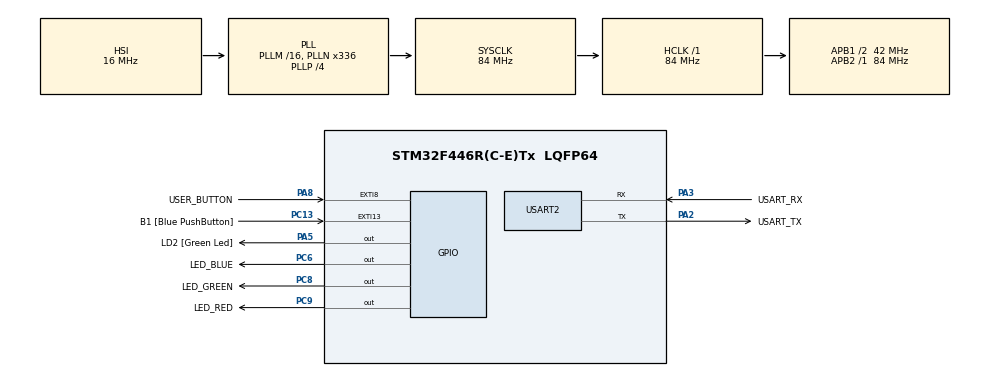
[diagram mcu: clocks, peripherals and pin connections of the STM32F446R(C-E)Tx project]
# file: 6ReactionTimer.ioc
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Mcu.Family=STM32F4
Mcu.Name=STM32F446R(C-E)Tx
Mcu.Package=LQFP64
NVIC.EXTI15_10_IRQn=true\:0\:0\:false\:false\:true\:true\:true\:true
NVIC.EXTI9_5_IRQn=true\:0\:0\:false\:false\:true\:true\:true\:true
NVIC.PriorityGroup=NVIC_PRIORITYGROUP_0
PA13.GPIO_Label=TMS
PA13.Mode=Serial_Wire
PA13.Signal=SYS_JTMS-SWDIO
PA14.GPIO_Label=TCK
PA14.Mode=Serial_Wire
PA14.Signal=SYS_JTCK-SWCLK
PA2.GPIO_Label=USART_TX
PA2.Mode=Asynchronous
PA2.Signal=USART2_TX
PA3.GPIO_Label=USART_RX
PA3.Mode=Asynchronous
PA3.Signal=USART2_RX
PA5.GPIO_Label=LD2 [Green Led]
PA5.Signal=GPIO_Output
PA8.GPIO_Label=USER_BUTTON
PA8.Signal=GPXTI8
PB3.GPIO_Label=SWO
PB3.Signal=SYS_JTDO-SWO
PC13.GPIO_Label=B1 [Blue PushButton]
PC13.GPIO_ModeDefaultEXTI=GPIO_MODE_IT_FALLING
PC13.Signal=GPXTI13
PC14-OSC32_IN.Mode=LSE-External-Oscillator
PC14-OSC32_IN.Signal=RCC_OSC32_IN
PC15-OSC32_OUT.Mode=LSE-External-Oscillator
PC15-OSC32_OUT.Signal=RCC_OSC32_OUT
PC6.GPIO_Label=LED_BLUE
PC6.Signal=GPIO_Output
PC8.GPIO_Label=LED_GREEN
PC8.Signal=GPIO_Output
PC9.GPIO_Label=LED_RED
PC9.Signal=GPIO_Output
PH0-OSC_IN.Mode=HSE-External-Oscillator
PH0-OSC_IN.Signal=RCC_OSC_IN
PH1-OSC_OUT.Mode=HSE-External-Oscillator
PH1-OSC_OUT.Signal=RCC_OSC_OUT
ProjectManager.HeapSize=0x200
ProjectManager.StackSize=0x400
ProjectManager.TargetToolchain=STM32CubeIDE
RCC.48MHZClocksFreq_Value=84000000
RCC.AHBFreq_Value=84000000
RCC.APB1CLKDivider=RCC_HCLK_DIV2
RCC.APB1Freq_Value=42000000
RCC.APB1TimFreq_Value=84000000
RCC.APB2Freq_Value=84000000
RCC.APB2TimFreq_Value=84000000
RCC.CortexFreq_Value=84000000
RCC.FLatency-AdvancedSettings=FLASH_LATENCY_2
RCC.HCLKFreq_Value=84000000
RCC.HSE_VALUE=8000000
RCC.HSI_VALUE=16000000
RCC.PLLN=336
RCC.PLLP=RCC_PLLP_DIV4
RCC.SYSCLKFreq_VALUE=84000000
RCC.SYSCLKSource=RCC_SYSCLKSOURCE_PLLCLK
RCC.USBFreq_Value=168000000
RCC.VCOOutputFreq_Value=336000000
USART2.VirtualMode=VM_ASYNC
board=NUCLEO-F446RE

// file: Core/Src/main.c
/* USER CODE BEGIN Header */
/**
  ******************************************************************************
  * @file           : main.c
  * @brief          : Main program body
  ******************************************************************************
  * @attention
  *
  * Copyright (c) 2026 STMicroelectronics.
  * All rights reserved.
  *
  * This software is licensed under terms that can be found in the LICENSE file
  * in the root directory of this software component.
  * If no LICENSE file comes with this software, it is provided AS-IS.
  *
  ******************************************************************************
  */
/* USER CODE END Header */
#include "main.h"
#include <stdbool.h>
#include <stdlib.h>
#include <stdio.h>

UART_HandleTypeDef huart2;

/* USER CODE BEGIN PV */
volatile bool played = false;
volatile uint32_t rtime= 0;
char buffer[50];

typedef enum {
	start,
    wait1,
    noplay,
    setup,
	play
} GameState;

// Aktueller State
volatile GameState state = wait1;

/* USER CODE END PV */

void SystemClock_Config(void);
static void MX_GPIO_Init(void);
static void MX_USART2_UART_Init(void);

int main(void)
{

  /* MCU Configuration--------------------------------------------------------*/

  /* Reset of all peripherals, Initializes the Flash interface and the Systick. */
  HAL_Init();

  /* Configure the system clock */
  SystemClock_Config();

  /* Initialize all configured peripherals */
  MX_GPIO_Init();
  MX_USART2_UART_Init();
  /* USER CODE BEGIN 2 */
  float f =0;
  uint32_t now=0;
  int t=0;
  /* USER CODE END 2 */

  /* Infinite loop */
  /* USER CODE BEGIN WHILE */

  while (1)
  {
	  switch(state){
	  	  case wait1:
	  		HAL_GPIO_WritePin(LED_BLUE_GPIO_Port, LED_BLUE_Pin, SET);
	  		HAL_GPIO_WritePin(LED_GREEN_GPIO_Port, LED_GREEN_Pin, RESET);
	  		HAL_GPIO_WritePin(LED_RED_GPIO_Port, LED_RED_Pin, RESET);
	  		break;
	  	  case start:
	  		  HAL_GPIO_WritePin(LED_BLUE_GPIO_Port, LED_BLUE_Pin, RESET);
	  		  HAL_Delay(1500);
	  		  state=setup;
	  		  break;
	  	  case setup:
	  		played=false;
	  		HAL_GPIO_WritePin(LED_RED_GPIO_Port, LED_RED_Pin, SET);
	  		f = (float)rand() / (float)RAND_MAX *10000;
	  		t=HAL_GetTick();
	  		state=noplay;
	  		break;
	  	  case noplay:
	  		if(HAL_GetTick()-t<f && played==true){
	  			HAL_UART_Transmit(&huart2,(uint8_t*)"Zu frueh gedrueckt!\r\n",22,HAL_MAX_DELAY);
	  			state=wait1;

	  		}else if(HAL_GetTick()-t>=f){
	  			HAL_GPIO_WritePin(LED_GREEN_GPIO_Port, LED_GREEN_Pin, SET);
	  			now=HAL_GetTick();
	  			state=play;
	  		}
	  		break;
	  	  case play:
	  		  if(played==true){
	  			uint32_t reaction=rtime-now;
	  			int len = sprintf(buffer, "Button gedrueckt nach %lu ms\r\n", reaction);
	  			HAL_UART_Transmit(&huart2, (uint8_t*)buffer, len, HAL_MAX_DELAY);
	  			state=wait1;

	  		  }else if(HAL_GetTick()-t>=20000){
		  			state=wait1;

		  	}
	  		  break;

	  }

    /* USER CODE END WHILE */

  }
}

void SystemClock_Config(void)
{
  RCC_OscInitTypeDef RCC_OscInitStruct = {0};
  RCC_ClkInitTypeDef RCC_ClkInitStruct = {0};

  /** Configure the main internal regulator output voltage
  */
  __HAL_RCC_PWR_CLK_ENABLE();
  __HAL_PWR_VOLTAGESCALING_CONFIG(PWR_REGULATOR_VOLTAGE_SCALE3);

  /** Initializes the RCC Oscillators according to the specified parameters
  * in the RCC_OscInitTypeDef structure.
  */
  RCC_OscInitStruct.OscillatorType = RCC_OSCILLATORTYPE_HSI;
  RCC_OscInitStruct.HSIState = RCC_HSI_ON;
  RCC_OscInitStruct.HSICalibrationValue = RCC_HSICALIBRATION_DEFAULT;
  RCC_OscInitStruct.PLL.PLLState = RCC_PLL_ON;
  RCC_OscInitStruct.PLL.PLLSource = RCC_PLLSOURCE_HSI;
  RCC_OscInitStruct.PLL.PLLM = 16;
  RCC_OscInitStruct.PLL.PLLN = 336;
  RCC_OscInitStruct.PLL.PLLP = RCC_PLLP_DIV4;
  RCC_OscInitStruct.PLL.PLLQ = 2;
  RCC_OscInitStruct.PLL.PLLR = 2;
  if (HAL_RCC_OscConfig(&RCC_OscInitStruct) != HAL_OK)
  {
    Error_Handler();
  }

  /** Initializes the CPU, AHB and APB buses clocks
  */
  RCC_ClkInitStruct.ClockType = RCC_CLOCKTYPE_HCLK|RCC_CLOCKTYPE_SYSCLK
                              |RCC_CLOCKTYPE_PCLK1|RCC_CLOCKTYPE_PCLK2;
  RCC_ClkInitStruct.SYSCLKSource = RCC_SYSCLKSOURCE_PLLCLK;
  RCC_ClkInitStruct.AHBCLKDivider = RCC_SYSCLK_DIV1;
  RCC_ClkInitStruct.APB1CLKDivider = RCC_HCLK_DIV2;
  RCC_ClkInitStruct.APB2CLKDivider = RCC_HCLK_DIV1;

  if (HAL_RCC_ClockConfig(&RCC_ClkInitStruct, FLASH_LATENCY_2) != HAL_OK)
  {
    Error_Handler();
  }
}

static void MX_USART2_UART_Init(void)
{

  huart2.Instance = USART2;
  huart2.Init.BaudRate = 115200;
  huart2.Init.WordLength = UART_WORDLENGTH_8B;
  huart2.Init.StopBits = UART_STOPBITS_1;
  huart2.Init.Parity = UART_PARITY_NONE;
  huart2.Init.Mode = UART_MODE_TX_RX;
  huart2.Init.HwFlowCtl = UART_HWCONTROL_NONE;
  huart2.Init.OverSampling = UART_OVERSAMPLING_16;
  if (HAL_UART_Init(&huart2) != HAL_OK)
  {
    Error_Handler();
  }

}

static void MX_GPIO_Init(void)
{
  GPIO_InitTypeDef GPIO_InitStruct = {0};

  /* GPIO Ports Clock Enable */
  __HAL_RCC_GPIOC_CLK_ENABLE();
  __HAL_RCC_GPIOH_CLK_ENABLE();
  __HAL_RCC_GPIOA_CLK_ENABLE();
  __HAL_RCC_GPIOB_CLK_ENABLE();

  /*Configure GPIO pin Output Level */
  HAL_GPIO_WritePin(LD2_GPIO_Port, LD2_Pin, GPIO_PIN_RESET);

  /*Configure GPIO pin Output Level */
  HAL_GPIO_WritePin(GPIOC, LED_BLUE_Pin|LED_GREEN_Pin|LED_RED_Pin, GPIO_PIN_RESET);

  /*Configure GPIO pin : B1_Pin */
  GPIO_InitStruct.Pin = B1_Pin;
  GPIO_InitStruct.Mode = GPIO_MODE_IT_FALLING;
  GPIO_InitStruct.Pull = GPIO_NOPULL;
  HAL_GPIO_Init(B1_GPIO_Port, &GPIO_InitStruct);

  /*Configure GPIO pin : LD2_Pin */
  GPIO_InitStruct.Pin = LD2_Pin;
  GPIO_InitStruct.Mode = GPIO_MODE_OUTPUT_PP;
  GPIO_InitStruct.Pull = GPIO_NOPULL;
  GPIO_InitStruct.Speed = GPIO_SPEED_FREQ_LOW;
  HAL_GPIO_Init(LD2_GPIO_Port, &GPIO_InitStruct);

  /*Configure GPIO pins : LED_BLUE_Pin LED_GREEN_Pin LED_RED_Pin */
  GPIO_InitStruct.Pin = LED_BLUE_Pin|LED_GREEN_Pin|LED_RED_Pin;
  GPIO_InitStruct.Mode = GPIO_MODE_OUTPUT_PP;
  GPIO_InitStruct.Pull = GPIO_NOPULL;
  GPIO_InitStruct.Speed = GPIO_SPEED_FREQ_LOW;
  HAL_GPIO_Init(GPIOC, &GPIO_InitStruct);

  /*Configure GPIO pin : USER_BUTTON_Pin */
  GPIO_InitStruct.Pin = USER_BUTTON_Pin;
  GPIO_InitStruct.Mode = GPIO_MODE_IT_RISING;
  GPIO_InitStruct.Pull = GPIO_PULLUP;
  HAL_GPIO_Init(USER_BUTTON_GPIO_Port, &GPIO_InitStruct);

  /* EXTI interrupt init*/
  HAL_NVIC_SetPriority(EXTI9_5_IRQn, 0, 0);
  HAL_NVIC_EnableIRQ(EXTI9_5_IRQn);

  HAL_NVIC_SetPriority(EXTI15_10_IRQn, 0, 0);
  HAL_NVIC_EnableIRQ(EXTI15_10_IRQn);

}

/* USER CODE BEGIN 4 */
void HAL_GPIO_EXTI_Callback(uint16_t GPIO_Pin)
{
    if(GPIO_Pin == USER_BUTTON_Pin)      // Button 1
    {
    	rtime=HAL_GetTick();
    	played=true;

    }
    else if(GPIO_Pin == B1_Pin)          // Button 2
    {
    	state=start;

    }
}
/* USER CODE END 4 */

void Error_Handler(void)
{
  __disable_irq();
  while (1)
  {
  }
}
